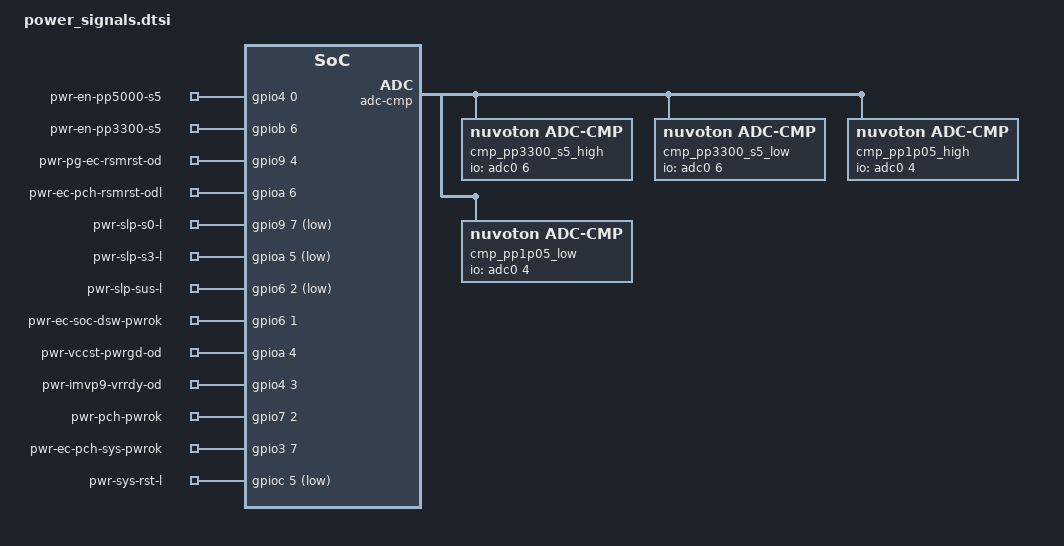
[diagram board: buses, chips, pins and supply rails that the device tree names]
/* Copyright 2024 The ChromiumOS Authors
 * Use of this source code is governed by a BSD-style license that can be
 * found in the LICENSE file.
 */

/ {
	chosen {
		intel-ap-pwrseq,espi = &espi0;
	};

	common-pwrseq {
		compatible = "intel,ap-pwrseq";

		sys-pwrok-delay = <10>;
		all-sys-pwrgd-timeout = <20>;
	};

	pwr-en-pp5000-s5 {
		compatible = "intel,ap-pwrseq-gpio";
		dbg-label = "PP5000_S5 enable output to regulator";
		enum-name = "PWR_EN_PP5000_A";
		gpios = <&gpio4 0 0>;
		output;
	};
	pwr-en-pp3300-s5 {
		compatible = "intel,ap-pwrseq-gpio";
		dbg-label = "PP3300_S5 enable output to LS";
		enum-name = "PWR_EN_PP3300_A";
		gpios = <&gpiob 6 0>;
		output;
	};
	pwr-pg-ec-rsmrst-od {
		compatible = "intel,ap-pwrseq-gpio";
		dbg-label = "RSMRST power good from regulator";
		enum-name = "PWR_RSMRST";
		gpios = <&gpio9 4 0>;
		interrupt-flags = <GPIO_INT_EDGE_BOTH>;
	};
	pwr-ec-pch-rsmrst-odl {
		compatible = "intel,ap-pwrseq-gpio";
		dbg-label = "RSMRST output to PCH";
		enum-name = "PWR_EC_PCH_RSMRST";
		gpios = <&gpioa 6 0>;
		output;
	};
	pwr-slp-s0-l {
		compatible = "intel,ap-pwrseq-gpio";
		dbg-label = "SLP_S0_L input from PCH";
		enum-name = "PWR_SLP_S0";
		gpios = <&gpio9 7 GPIO_ACTIVE_LOW>;
		interrupt-flags = <GPIO_INT_EDGE_BOTH>;
	};
	pwr-slp-s3-l {
		compatible = "intel,ap-pwrseq-gpio";
		dbg-label = "SLP_S3_L input from PCH";
		enum-name = "PWR_SLP_S3";
		gpios = <&gpioa 5 GPIO_ACTIVE_LOW>;
		interrupt-flags = <GPIO_INT_EDGE_BOTH>;
	};
	pwr-slp-sus-l {
		compatible = "intel,ap-pwrseq-gpio";
		dbg-label = "SLP_SUS_L input from PCH";
		enum-name = "PWR_SLP_SUS";
		gpios = <&gpio6 2 GPIO_ACTIVE_LOW>;
		interrupt-flags = <GPIO_INT_EDGE_BOTH>;
	};
	pwr-ec-soc-dsw-pwrok {
		compatible = "intel,ap-pwrseq-gpio";
		dbg-label = "DSW_PWROK output to PCH";
		enum-name = "PWR_EC_SOC_DSW_PWROK";
		gpios = <&gpio6 1 0>;
		output;
	};
	pwr-vccst-pwrgd-od {
		compatible = "intel,ap-pwrseq-gpio";
		dbg-label = "VCCST_PWRGD output to PCH";
		enum-name = "PWR_VCCST_PWRGD";
		gpios = <&gpioa 4 GPIO_OPEN_DRAIN>;
		output;
	};
	pwr-imvp9-vrrdy-od {
		compatible = "intel,ap-pwrseq-gpio";
		dbg-label = "VRRDY input from IMVP9";
		enum-name = "PWR_IMVP9_VRRDY";
		gpios = <&gpio4 3 0>;
	};
	pwr-pch-pwrok {
		compatible = "intel,ap-pwrseq-gpio";
		dbg-label = "PCH_PWROK output to PCH";
		enum-name = "PWR_PCH_PWROK";
		gpios = <&gpio7 2 GPIO_OPEN_DRAIN>;
		output;
	};
	pwr-ec-pch-sys-pwrok {
		compatible = "intel,ap-pwrseq-gpio";
		dbg-label = "SYS_PWROK output to PCH";
		enum-name = "PWR_EC_PCH_SYS_PWROK";
		gpios = <&gpio3 7 0>;
		output;
	};
	pwr-sys-rst-l {
		compatible = "intel,ap-pwrseq-gpio";
		dbg-label = "SYS_RESET# output to PCH";
		enum-name = "PWR_SYS_RST";
		gpios = <&gpioc 5 (GPIO_ACTIVE_LOW|GPIO_OPEN_DRAIN)>;
		output;
	};
	pwr-slp-s4 {
		compatible = "intel,ap-pwrseq-vw";
		dbg-label = "SLP_S4 virtual wire input from PCH";
		enum-name = "PWR_SLP_S4";
		virtual-wire = "ESPI_VWIRE_SIGNAL_SLP_S4";
		vw-invert;
	};
	pwr-slp-s5 {
		compatible = "intel,ap-pwrseq-vw";
		dbg-label = "SLP_S5 virtual wire input from PCH";
		enum-name = "PWR_SLP_S5";
		virtual-wire = "ESPI_VWIRE_SIGNAL_SLP_S5";
		vw-invert;
	};
	pwr-all-sys-pwrgd {
		compatible = "intel,ap-pwrseq-external";
		dbg-label = "Combined all power good";
		enum-name = "PWR_ALL_SYS_PWRGD";
	};
	pwr-adc-pp3300 {
		compatible = "intel,ap-pwrseq-adc";
		dbg-label = "PP3300 PWROK (from ADC)";
		enum-name = "PWR_DSW_PWROK";
		trigger-high = <&cmp_pp3300_s5_high>;
		trigger-low = <&cmp_pp3300_s5_low>;
	};
	pwr-adc-pp1p05 {
		compatible = "intel,ap-pwrseq-adc";
		dbg-label = "PP1P05 PWROK (from ADC)";
		enum-name = "PWR_PG_PP1P05";
		trigger-high = <&cmp_pp1p05_high>;
		trigger-low = <&cmp_pp1p05_low>;
	};

	adc-cmp {
		cmp_pp3300_s5_high: pp3300_high {
			compatible = "nuvoton,adc-cmp";
			io-channels = <&adc0 6>;
			comparison = "ADC_CMP_NPCX_GREATER";
			/*
			 * This is 90% of nominal voltage considering voltage
			 * divider on ADC input.
			 */
			threshold-mv = <2448>;
		};
		cmp_pp3300_s5_low: pp3300_low {
			compatible = "nuvoton,adc-cmp";
			io-channels = <&adc0 6>;
			comparison = "ADC_CMP_NPCX_LESS_OR_EQUAL";
			threshold-mv = <2448>;
		};
		cmp_pp1p05_high: pp1p05_high {
			compatible = "nuvoton,adc-cmp";
			io-channels = <&adc0 4>;
			comparison = "ADC_CMP_NPCX_GREATER";
			/* Setting at 90% of nominal voltage */
			threshold-mv = <945>;
		};
		cmp_pp1p05_low: pp1p05_low {
			compatible = "nuvoton,adc-cmp";
			io-channels = <&adc0 4>;
			comparison = "ADC_CMP_NPCX_LESS_OR_EQUAL";
			threshold-mv = <945>;
		};
	};
};

/*
 * Because the power signals directly reference the GPIOs,
 * the correspinding named-gpios need to have no-auto-init set.
 */
&gpio_ec_soc_dsw_pwrok {
	no-auto-init;
};
&gpio_ec_soc_pch_pwrok_od {
	no-auto-init;
};
&gpio_ec_soc_rsmrst_l {
	no-auto-init;
};
&gpio_ec_soc_sys_pwrok {
	no-auto-init;
};
&gpio_ec_soc_vccst_pwrgd_od {
	no-auto-init;
};
&gpio_en_pp3300_s5 {
	no-auto-init;
};
&gpio_en_pp5000_s5 {
	no-auto-init;
};
&gpio_imvp91_vrrdy_od {
	no-auto-init;
};
&gpio_rsmrst_pwrgd_l {
	no-auto-init;
};
&gpio_slp_s0_l {
	no-auto-init;
};
&gpio_slp_s3_l {
	no-auto-init;
};
&gpio_slp_s4_l {
	no-auto-init;
};
&gpio_slp_sus_l {
	no-auto-init;
};
&gpio_sys_rst_odl {
	no-auto-init;
};
